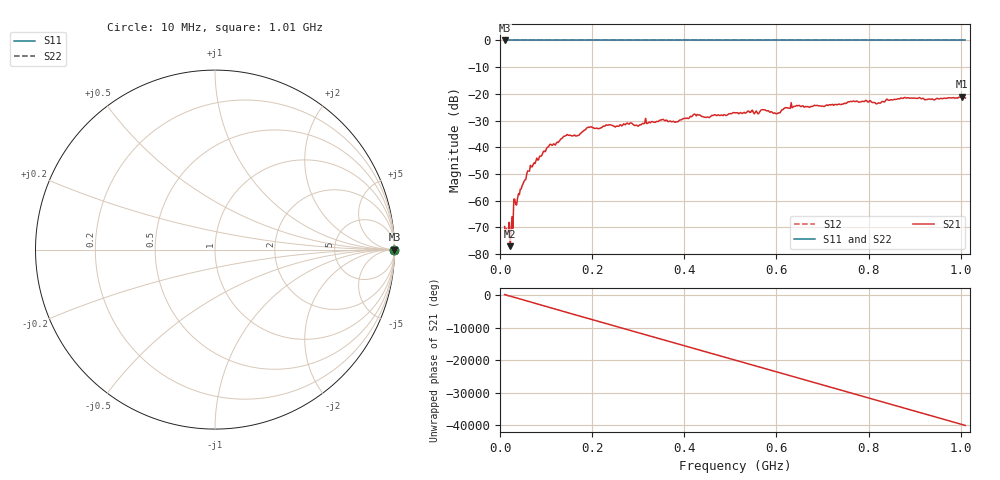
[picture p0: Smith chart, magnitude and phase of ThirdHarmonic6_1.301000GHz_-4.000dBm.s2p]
! 8/16/2025 2:18:34 PM
! C:\ANRITSUVNA\TEMP\TEMP.S2P
! CHANNEL.1
! TR.MEASUREMENT
! RAW.DATA
! RF.CORRECTION.OFF
! AVERAGING.OFF
! IF.BANDWIDTH: 5KHZ
! SWEEPTYPE:  FREQ.SWEEP(Linear)
! Reference Plane Port Info
! PORT:  PORT1  PORT2
! DISTANCE:  0  m  0  m
! TIME:  0  s  0  s
! PHASE.OFFSET:  0  deg.  0  deg.
! LOSS:  0  dB  0  dB
! REF.LOSS:  0  dB  0  dB
! REF.FREQ:  0  Hz  0  Hz
! Power Info
! POWER:  -20  dBm  -20  dBm
! EFF.POWER:  -20  dBm  -20  dBm
! SOURCE.ATTEN:  0  dB  0  dB
! TEST.ATTEN:  0  dB  0  dB
# GHZ S RI R 50.0
! FREQ.GHZ  S11RE  S11IM  S21RE  S21IM  S12RE  S12IM  S22RE  S22IM
!; PortSelection: Port_12
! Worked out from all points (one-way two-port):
!   501 points, 10 MHz to 1.01 GHz, reference 50 ohm
!   highest |S21| = -21.05 dB at 1.002 GHz (marker M1); lowest = -77.0 dB at 22 MHz (marker M2)
!   lowest |S11| = 0.0 dB at 10 MHz (marker M3)
!   |S11| at or under -10 dB: nowhere
!   |S22| runs from 0.0 to 0.0 dB; largest |S21 - S12| = 1.1
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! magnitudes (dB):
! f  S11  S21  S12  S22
! 10 MHz  0.0  -69.7  0.0  0.0
! 20 MHz  0.0  -68.1  0.0  0.0
! 22 MHz  0.0  -77.0  0.0  0.0
! 26 MHz  0.0  -66.0  0.0  0.0
! 28 MHz  0.0  -70.3  0.0  0.0
! 34 MHz  0.0  -61.4  0.0  0.0
! 70 MHz  0.0  -47.3  0.0  0.0
! 106 MHz  0.0  -39.6  0.0  0.0
! 142 MHz  0.0  -35.7  0.0  0.0
! 178 MHz  0.0  -34.3  0.0  0.0
! 194 MHz  0.0  -32.6  0.0  0.0
! 344 MHz  0.0  -30.3  0.0  0.0
! 382 MHz  0.0  -30.5  0.0  0.0
! 424 MHz  0.0  -27.7  0.0  0.0
! 510 MHz  0.0  -27.1  0.0  0.0
! 572 MHz  0.0  -25.9  0.0  0.0
! 602 MHz  0.0  -27.3  0.0  0.0
! 636 MHz  0.0  -24.9  0.0  0.0
! 678 MHz  0.0  -24.7  0.0  0.0
! 844 MHz  0.0  -22.4  0.0  0.0
! 1.002 GHz  0.0  -21.0  0.0  0.0
! 1.01 GHz  0.0  -21.5  0.0  0.0
